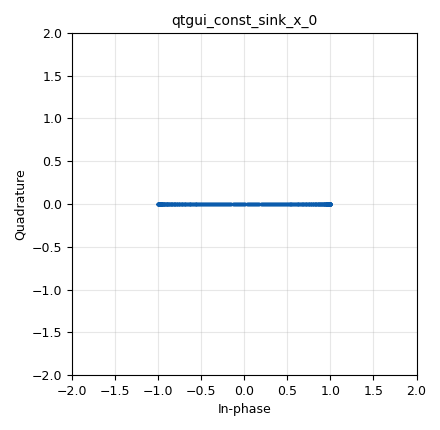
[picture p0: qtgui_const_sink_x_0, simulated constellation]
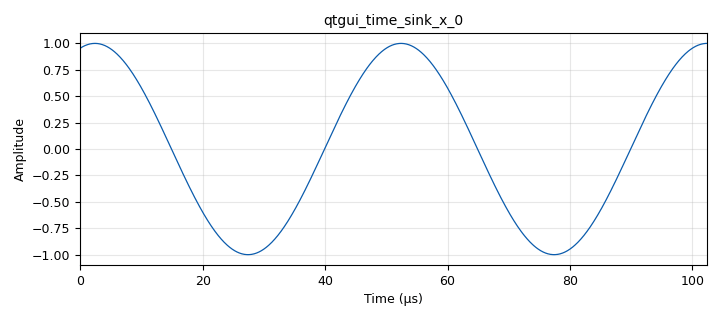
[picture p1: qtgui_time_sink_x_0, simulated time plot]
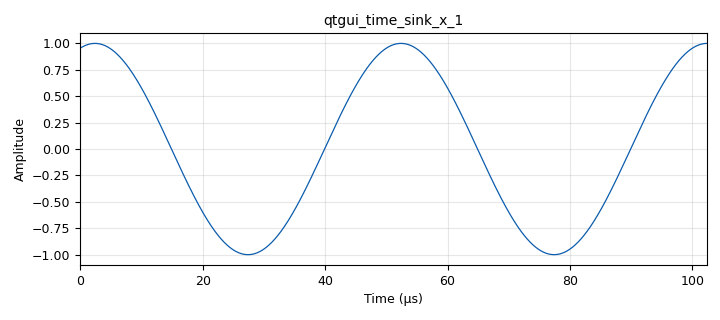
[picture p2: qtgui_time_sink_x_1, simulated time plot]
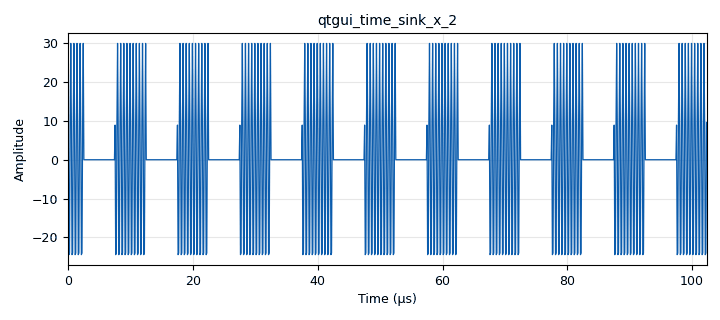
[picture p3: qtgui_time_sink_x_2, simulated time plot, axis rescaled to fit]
<?xml version='1.0' encoding='utf-8'?>
<?grc format='1' created='3.7.13'?>
<flow_graph>
<block>
<key>options</key>
<param><key>id</key><value>top_block</value></param>
<param><key>generate_options</key><value>qt_gui</value></param>
</block>
<block>
<key>variable</key>
<param><key>id</key><value>samp_rate</value></param>
<param><key>value</key><value>10e6</value></param>
</block>
<block>
<key>analog_sig_source_x</key>
<param><key>id</key><value>analog_sig_source_x_0</value></param>
<param><key>amp</key><value>1</value></param>
<param><key>freq</key><value>20e3</value></param>
<param><key>offset</key><value>0</value></param>
<param><key>type</key><value>float</value></param>
<param><key>samp_rate</key><value>samp_rate</value></param>
<param><key>waveform</key><value>analog.GR_COS_WAVE</value></param>
</block>
<block>
<key>analog_sig_source_x</key>
<param><key>id</key><value>analog_sig_source_x_1</value></param>
<param><key>amp</key><value>1</value></param>
<param><key>freq</key><value>1000</value></param>
<param><key>offset</key><value>0</value></param>
<param><key>type</key><value>float</value></param>
<param><key>samp_rate</key><value>samp_rate</value></param>
<param><key>waveform</key><value>analog.GR_SQR_WAVE</value></param>
</block>
<block>
<key>blocks_float_to_complex</key>
<param><key>id</key><value>blocks_float_to_complex_0</value></param>
</block>
<block>
<key>blocks_multiply_xx</key>
<param><key>id</key><value>blocks_multiply_xx_0</value></param>
<param><key>type</key><value>float</value></param>
</block>
<block>
<key>blocks_throttle</key>
<param><key>id</key><value>blocks_throttle_0</value></param>
<param><key>samples_per_second</key><value>samp_rate</value></param>
<param><key>type</key><value>float</value></param>
</block>
<block>
<key>fir_filter_xxx</key>
<param><key>id</key><value>fir_filter_xxx_1</value></param>
<param><key>decim</key><value>100</value></param>
<param><key>taps</key><value>30</value></param>
<param><key>type</key><value>fff</value></param>
</block>
<block>
<key>qtgui_const_sink_x</key>
<param><key>id</key><value>qtgui_const_sink_x_0</value></param>
<param><key>size</key><value>1024</value></param>
<param><key>type</key><value>complex</value></param>
</block>
<block>
<key>qtgui_freq_sink_x</key>
<param><key>id</key><value>qtgui_freq_sink_x_0</value></param>
<param><key>bw</key><value>1000</value></param>
<param><key>fc</key><value>4.43495e6</value></param>
<param><key>_enabled</key><value>0</value></param>
<param><key>fftsize</key><value>1024</value></param>
<param><key>showports</key><value>True</value></param>
<param><key>type</key><value>complex</value></param>
<param><key>wintype</key><value>firdes.WIN_RECTANGULAR</value></param>
</block>
<block>
<key>qtgui_time_sink_x</key>
<param><key>id</key><value>qtgui_time_sink_x_0</value></param>
<param><key>autoscale</key><value>True</value></param>
<param><key>grid</key><value>True</value></param>
<param><key>color1</key><value>"blue"</value></param>
<param><key>label1</key><value></value></param>
<param><key>size</key><value>1024</value></param>
<param><key>srate</key><value>samp_rate</value></param>
<param><key>type</key><value>float</value></param>
</block>
<block>
<key>qtgui_time_sink_x</key>
<param><key>id</key><value>qtgui_time_sink_x_1</value></param>
<param><key>autoscale</key><value>True</value></param>
<param><key>color1</key><value>"blue"</value></param>
<param><key>label1</key><value></value></param>
<param><key>size</key><value>1024</value></param>
<param><key>srate</key><value>samp_rate</value></param>
<param><key>type</key><value>float</value></param>
</block>
<block>
<key>qtgui_time_sink_x</key>
<param><key>id</key><value>qtgui_time_sink_x_2</value></param>
<param><key>color1</key><value>"blue"</value></param>
<param><key>label1</key><value></value></param>
<param><key>size</key><value>1024</value></param>
<param><key>srate</key><value>samp_rate</value></param>
<param><key>type</key><value>float</value></param>
</block>
<connection><source_block_id>analog_sig_source_x_0</source_block_id><sink_block_id>blocks_multiply_xx_0</sink_block_id><source_key>0</source_key><sink_key>0</sink_key></connection>
<connection><source_block_id>analog_sig_source_x_0</source_block_id><sink_block_id>qtgui_time_sink_x_0</sink_block_id><source_key>0</source_key><sink_key>0</sink_key></connection>
<connection><source_block_id>analog_sig_source_x_1</source_block_id><sink_block_id>blocks_multiply_xx_0</sink_block_id><source_key>0</source_key><sink_key>1</sink_key></connection>
<connection><source_block_id>blocks_float_to_complex_0</source_block_id><sink_block_id>qtgui_const_sink_x_0</sink_block_id><source_key>0</source_key><sink_key>0</sink_key></connection>
<connection><source_block_id>blocks_multiply_xx_0</source_block_id><sink_block_id>blocks_throttle_0</sink_block_id><source_key>0</source_key><sink_key>0</sink_key></connection>
<connection><source_block_id>blocks_throttle_0</source_block_id><sink_block_id>blocks_float_to_complex_0</sink_block_id><source_key>0</source_key><sink_key>0</sink_key></connection>
<connection><source_block_id>blocks_throttle_0</source_block_id><sink_block_id>fir_filter_xxx_1</sink_block_id><source_key>0</source_key><sink_key>0</sink_key></connection>
<connection><source_block_id>blocks_throttle_0</source_block_id><sink_block_id>qtgui_time_sink_x_1</sink_block_id><source_key>0</source_key><sink_key>0</sink_key></connection>
<connection><source_block_id>fir_filter_xxx_1</source_block_id><sink_block_id>qtgui_time_sink_x_2</sink_block_id><source_key>0</source_key><sink_key>0</sink_key></connection>
</flow_graph>
